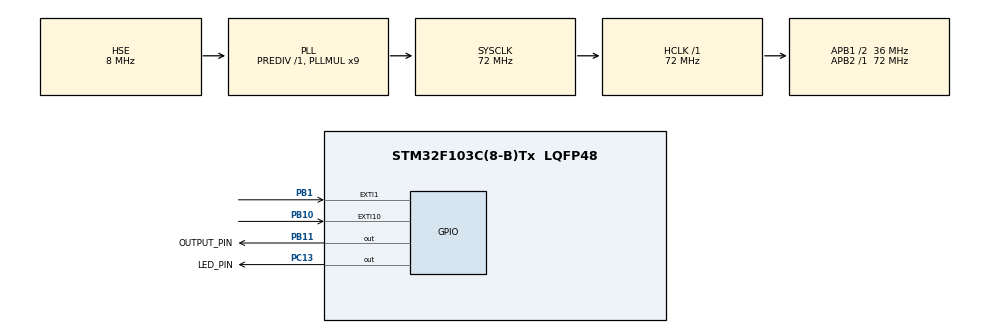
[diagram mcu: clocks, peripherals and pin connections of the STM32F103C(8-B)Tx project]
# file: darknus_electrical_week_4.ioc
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Mcu.Family=STM32F1
Mcu.Name=STM32F103C(8-B)Tx
Mcu.Package=LQFP48
NVIC.EXTI15_10_IRQn=true\:0\:0\:false\:false\:true\:true\:true\:true
NVIC.EXTI1_IRQn=true\:0\:0\:false\:false\:true\:true\:true\:true
NVIC.PriorityGroup=NVIC_PRIORITYGROUP_4
PA13.Mode=Serial_Wire
PA13.Signal=SYS_JTMS-SWDIO
PA14.Mode=Serial_Wire
PA14.Signal=SYS_JTCK-SWCLK
PB1.GPIO_ModeDefaultEXTI=GPIO_MODE_IT_RISING
PB1.GPIO_PuPd=GPIO_PULLUP
PB1.Signal=GPXTI1
PB10.GPIO_ModeDefaultEXTI=GPIO_MODE_IT_RISING
PB10.GPIO_PuPd=GPIO_PULLUP
PB10.Signal=GPXTI10
PB11.GPIO_Label=OUTPUT_PIN
PB11.PinState=GPIO_PIN_SET
PB11.Signal=GPIO_Output
PC13-TAMPER-RTC.GPIO_Label=LED_PIN
PC13-TAMPER-RTC.GPIO_ModeDefaultOutputPP=GPIO_MODE_OUTPUT_PP
PC13-TAMPER-RTC.PinState=GPIO_PIN_SET
PC13-TAMPER-RTC.Signal=GPIO_Output
PD0-OSC_IN.Mode=HSE-External-Oscillator
PD0-OSC_IN.Signal=RCC_OSC_IN
PD1-OSC_OUT.Mode=HSE-External-Oscillator
PD1-OSC_OUT.Signal=RCC_OSC_OUT
ProjectManager.HeapSize=0x200
ProjectManager.StackSize=0x400
ProjectManager.TargetToolchain=STM32CubeIDE
RCC.AHBFreq_Value=72000000
RCC.APB1CLKDivider=RCC_HCLK_DIV2
RCC.APB1Freq_Value=36000000
RCC.APB1TimFreq_Value=72000000
RCC.APB2Freq_Value=72000000
RCC.APB2TimFreq_Value=72000000
RCC.HCLKFreq_Value=72000000
RCC.PLLMUL=RCC_PLL_MUL9
RCC.PLLSourceVirtual=RCC_PLLSOURCE_HSE
RCC.SYSCLKFreq_VALUE=72000000
RCC.SYSCLKSource=RCC_SYSCLKSOURCE_PLLCLK
RCC.USBFreq_Value=72000000
board=custom

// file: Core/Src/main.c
/* USER CODE BEGIN Header */
/**
  ******************************************************************************
  * @file           : main.c
  * @brief          : Main program body
  ******************************************************************************
  * @attention
  *
  * Copyright (c) 2022 STMicroelectronics.
  * All rights reserved.
  *
  * This software is licensed under terms that can be found in the LICENSE file
  * in the root directory of this software component.
  * If no LICENSE file comes with this software, it is provided AS-IS.
  *
  ******************************************************************************
  */
/* USER CODE END Header */
#include "main.h"

void SystemClock_Config(void);
static void MX_GPIO_Init(void);
/* USER CODE BEGIN PFP */
int state = 0;
int led_delay = 333;
int buildin_delay = 143;
uint32_t buildin_led_start = 0;
uint32_t led_start = 0;
int buildin_state = 0;
int led_state = 0;
/* USER CODE END PFP */

/* USER CODE BEGIN 0 */
void HAL_GPIO_EXTI_Callback(uint16_t GPIO_PIN)
{
	if(GPIO_PIN_10 == GPIO_PIN)
	{
		if(buildin_delay == 500)
		{
			buildin_delay = 143;
		}
		else
		{
			buildin_delay = 500;
		}
	}
	else if(GPIO_PIN_1 == GPIO_PIN)
	{
		if(led_delay == 200)
			led_delay = 143;
		else
			led_delay = 200;
	}
}

/* USER CODE END 0 */

int main(void)
{

  /* MCU Configuration--------------------------------------------------------*/

  /* Reset of all peripherals, Initializes the Flash interface and the Systick. */
  HAL_Init();

  /* Configure the system clock */
  SystemClock_Config();

  /* Initialize all configured peripherals */
  MX_GPIO_Init();

  /* Infinite loop */
  while (1)
  {

    /* USER CODE BEGIN 3 */
		if(HAL_GetTick() - buildin_led_start >= buildin_delay)
		{
			if(buildin_state)
				HAL_GPIO_WritePin(OUTPUT_PIN_GPIO_Port, GPIO_PIN_11, GPIO_PIN_SET);
			else
				HAL_GPIO_WritePin(OUTPUT_PIN_GPIO_Port, GPIO_PIN_11, GPIO_PIN_RESET);
			buildin_state = !buildin_state;
			buildin_led_start = HAL_GetTick();
		}
		if(HAL_GetTick() - led_start >= led_delay)
		{
			if(led_state)
				HAL_GPIO_WritePin(LED_PIN_GPIO_Port, GPIO_PIN_13, GPIO_PIN_SET);
			else
				HAL_GPIO_WritePin(LED_PIN_GPIO_Port, GPIO_PIN_13, GPIO_PIN_RESET);
			led_state = !led_state;
			led_start = HAL_GetTick();
		}

  }
  /* USER CODE END 3 */
}

void SystemClock_Config(void)
{
  RCC_OscInitTypeDef RCC_OscInitStruct = {0};
  RCC_ClkInitTypeDef RCC_ClkInitStruct = {0};

  /** Initializes the RCC Oscillators according to the specified parameters
  * in the RCC_OscInitTypeDef structure.
  */
  RCC_OscInitStruct.OscillatorType = RCC_OSCILLATORTYPE_HSE;
  RCC_OscInitStruct.HSEState = RCC_HSE_ON;
  RCC_OscInitStruct.HSEPredivValue = RCC_HSE_PREDIV_DIV1;
  RCC_OscInitStruct.HSIState = RCC_HSI_ON;
  RCC_OscInitStruct.PLL.PLLState = RCC_PLL_ON;
  RCC_OscInitStruct.PLL.PLLSource = RCC_PLLSOURCE_HSE;
  RCC_OscInitStruct.PLL.PLLMUL = RCC_PLL_MUL9;
  if (HAL_RCC_OscConfig(&RCC_OscInitStruct) != HAL_OK)
  {
    Error_Handler();
  }

  /** Initializes the CPU, AHB and APB buses clocks
  */
  RCC_ClkInitStruct.ClockType = RCC_CLOCKTYPE_HCLK|RCC_CLOCKTYPE_SYSCLK
                              |RCC_CLOCKTYPE_PCLK1|RCC_CLOCKTYPE_PCLK2;
  RCC_ClkInitStruct.SYSCLKSource = RCC_SYSCLKSOURCE_PLLCLK;
  RCC_ClkInitStruct.AHBCLKDivider = RCC_SYSCLK_DIV1;
  RCC_ClkInitStruct.APB1CLKDivider = RCC_HCLK_DIV2;
  RCC_ClkInitStruct.APB2CLKDivider = RCC_HCLK_DIV1;

  if (HAL_RCC_ClockConfig(&RCC_ClkInitStruct, FLASH_LATENCY_2) != HAL_OK)
  {
    Error_Handler();
  }
}

static void MX_GPIO_Init(void)
{
  GPIO_InitTypeDef GPIO_InitStruct = {0};

  /* GPIO Ports Clock Enable */
  __HAL_RCC_GPIOC_CLK_ENABLE();
  __HAL_RCC_GPIOD_CLK_ENABLE();
  __HAL_RCC_GPIOB_CLK_ENABLE();
  __HAL_RCC_GPIOA_CLK_ENABLE();

  /*Configure GPIO pin Output Level */
  HAL_GPIO_WritePin(LED_PIN_GPIO_Port, LED_PIN_Pin, GPIO_PIN_SET);

  /*Configure GPIO pin Output Level */
  HAL_GPIO_WritePin(OUTPUT_PIN_GPIO_Port, OUTPUT_PIN_Pin, GPIO_PIN_SET);

  /*Configure GPIO pin : LED_PIN_Pin */
  GPIO_InitStruct.Pin = LED_PIN_Pin;
  GPIO_InitStruct.Mode = GPIO_MODE_OUTPUT_PP;
  GPIO_InitStruct.Pull = GPIO_NOPULL;
  GPIO_InitStruct.Speed = GPIO_SPEED_FREQ_LOW;
  HAL_GPIO_Init(LED_PIN_GPIO_Port, &GPIO_InitStruct);

  /*Configure GPIO pins : PB1 PB10 */
  GPIO_InitStruct.Pin = GPIO_PIN_1|GPIO_PIN_10;
  GPIO_InitStruct.Mode = GPIO_MODE_IT_RISING;
  GPIO_InitStruct.Pull = GPIO_PULLUP;
  HAL_GPIO_Init(GPIOB, &GPIO_InitStruct);

  /*Configure GPIO pin : OUTPUT_PIN_Pin */
  GPIO_InitStruct.Pin = OUTPUT_PIN_Pin;
  GPIO_InitStruct.Mode = GPIO_MODE_OUTPUT_PP;
  GPIO_InitStruct.Pull = GPIO_NOPULL;
  GPIO_InitStruct.Speed = GPIO_SPEED_FREQ_LOW;
  HAL_GPIO_Init(OUTPUT_PIN_GPIO_Port, &GPIO_InitStruct);

  /* EXTI interrupt init*/
  HAL_NVIC_SetPriority(EXTI1_IRQn, 0, 0);
  HAL_NVIC_EnableIRQ(EXTI1_IRQn);

  HAL_NVIC_SetPriority(EXTI15_10_IRQn, 0, 0);
  HAL_NVIC_EnableIRQ(EXTI15_10_IRQn);

}

void Error_Handler(void)
{
  __disable_irq();
  while (1)
  {
  }
}
